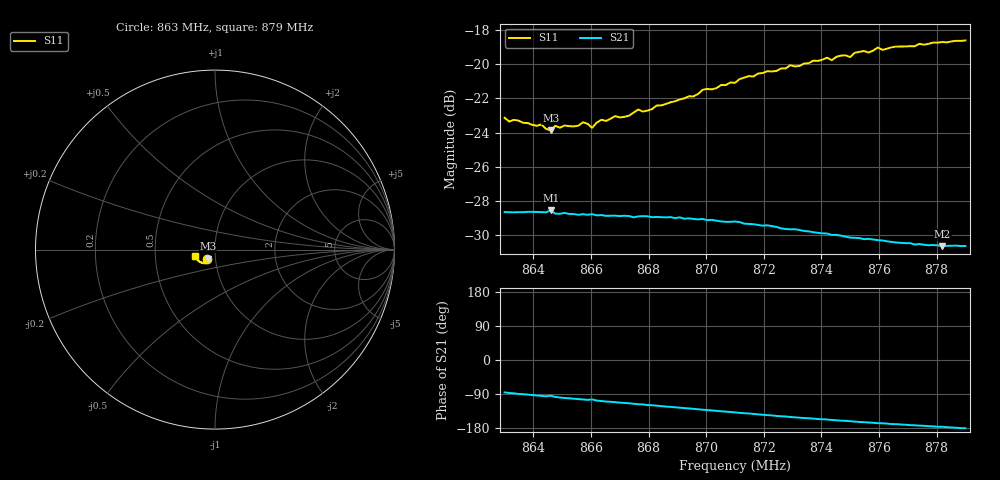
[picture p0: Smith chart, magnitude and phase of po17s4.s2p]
# HZ S RI R 50
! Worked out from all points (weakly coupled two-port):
!   101 points, 863 MHz to 879 MHz, reference 50 ohm
!   highest |S21| = -28.56 dB at 864.6 MHz (marker M1); lowest = -30.7 dB at 878.2 MHz (marker M2)
!   lowest |S11| = -23.9 dB at 864.6 MHz (marker M3), VSWR 1.14, Z = 46 - j4.65 ohm
!   |S11| at or under -10 dB: start of sweep to end of sweep
!   S12 and S22 are empty: the file has one direction only
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8.63e8  -0.0438 -0.0542  0.00296 -0.0368  0 0  0 0
8.6316e8  -0.0424 -0.0531  0.00189 -0.0368  0 0  0 0
8.6428e8  -0.0379 -0.0548  -0.00294 -0.0368  0 0  0 0
8.646e8  -0.0395 -0.0504  -0.00272 -0.0372  0 0  0 0
8.6476e8  -0.0367 -0.0549  -0.0048 -0.0362  0 0  0 0
8.654e8  -0.0346 -0.0559  -0.00766 -0.0356  0 0  0 0
8.6572e8  -0.0348 -0.0579  -0.00884 -0.0353  0 0  0 0
8.6604e8  -0.0302 -0.0577  -0.0088 -0.0353  0 0  0 0
8.6636e8  -0.0355 -0.0589  -0.0113 -0.0344  0 0  0 0
8.6732e8  -0.0335 -0.0622  -0.0147 -0.0328  0 0  0 0
8.6844e8  -0.0354 -0.067  -0.0187 -0.0304  0 0  0 0
8.6956e8  -0.0398 -0.07  -0.0221 -0.0274  0 0  0 0
8.6988e8  -0.0422 -0.0729  -0.0232 -0.0265  0 0  0 0
8.71e8  -0.0475 -0.0743  -0.0258 -0.0231  0 0  0 0
8.718e8  -0.0545 -0.0765  -0.0272 -0.0202  0 0  0 0
8.7372e8  -0.07 -0.0748  -0.0291 -0.0138  0 0  0 0
8.742e8  -0.0741 -0.0737  -0.0294 -0.0125  0 0  0 0
8.7436e8  -0.0727 -0.0726  -0.0294 -0.0117  0 0  0 0
8.7596e8  -0.0914 -0.0646  -0.0297 -0.00705  0 0  0 0
8.7644e8  -0.0937 -0.0614  -0.0297 -0.00568  0 0  0 0
8.782e8  -0.1064 -0.0464  -0.0293 -0.00197  0 0  0 0
8.79e8  -0.111 -0.0382  -0.0294 -4.9e-05  0 0  0 0
